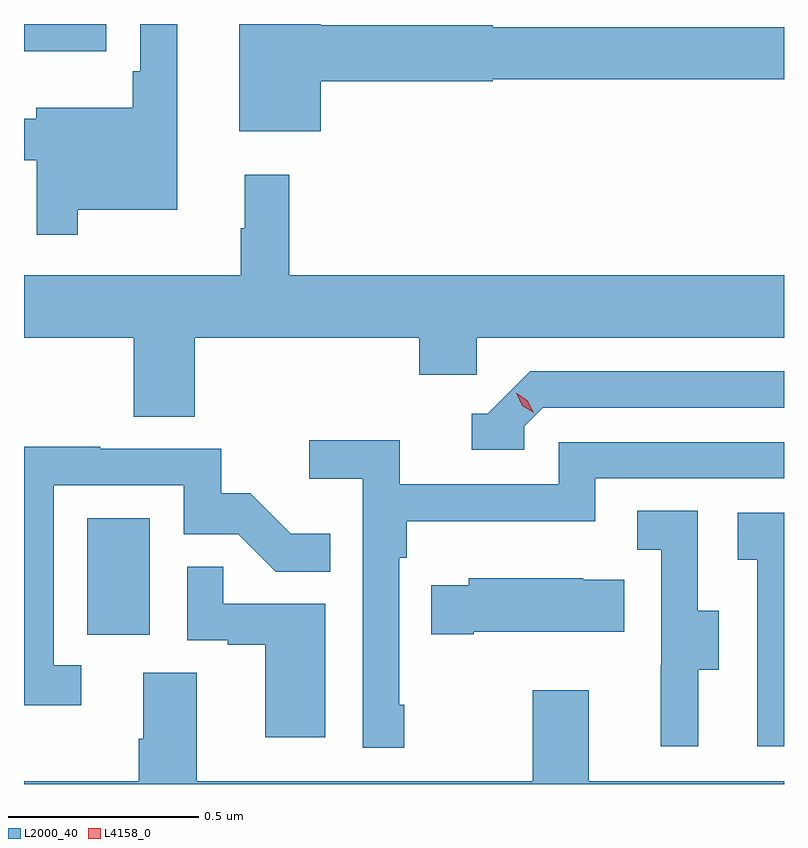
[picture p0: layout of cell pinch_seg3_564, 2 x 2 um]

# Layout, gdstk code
import gdstk
lib = gdstk.Library(unit=1e-6, precision=1e-09)
def R(c, l, rs):  # rectangles x0, y0, x1, y1
    for r in rs: c.add(gdstk.rectangle(r[:2], r[2:], *l))
def P(c, l, *ps):  # polygons
    for p in ps: c.add(gdstk.Polygon(p, *l))
L2000_40 = (2000, 40)
L4158_0 = (4158, 0)

pinch_seg3_564 = lib.new_cell('pinch_seg3_564')
R(pinch_seg3_564, L2000_40, [(1112.594,689.478,1112.758,689.785), (1112.427,691.013,1112.644,691.085)])
P(pinch_seg3_564, L2000_40, [(1113.208,690.935),(1113.66,690.935),(1113.66,690.94),(1114.427,690.94),(1114.427,691.076),(1113.66,691.076),(1113.66,691.082),(1113.208,691.082),(1113.208,691.085),(1112.993,691.085),(1112.993,690.803),(1113.208,690.803)],
  [(1112.569,690.596),(1112.83,690.596),(1112.83,691.085),(1112.733,691.085),(1112.733,690.961),(1112.713,690.961),(1112.713,690.865),(1112.459,690.865),(1112.459,690.836),(1112.427,690.836),(1112.427,690.726),(1112.46,690.726),(1112.46,690.531),(1112.569,690.531)],
  [(1112.876,690.26),(1113.467,690.26),(1113.467,690.162),(1113.618,690.162),(1113.618,690.26),(1114.427,690.26),(1114.427,690.424),(1113.125,690.424),(1113.125,690.688),(1113.008,690.688),(1113.008,690.548),(1112.997,690.548),(1112.997,690.424),(1112.427,690.424),(1112.427,690.26),(1112.716,690.26),(1112.716,690.052),(1112.876,690.052)],
  [(1113.744,690.027),(1113.792,690.075),(1114.427,690.075),(1114.427,690.171),(1113.759,690.171),(1113.648,690.06),(1113.605,690.06),(1113.605,689.964),(1113.744,689.964)],
  [(1113.427,689.293),(1113.414,689.293),(1113.414,689.681),(1113.434,689.681),(1113.434,689.777),(1113.93,689.777),(1113.93,689.889),(1114.427,689.889),(1114.427,689.985),(1113.834,689.985),(1113.834,689.874),(1113.416,689.874),(1113.416,689.99),(1113.177,689.99),(1113.177,689.888),(1113.318,689.888),(1113.318,689.181),(1113.427,689.181)],
  [(1112.578,689.397),(1112.505,689.397),(1112.505,689.871),(1112.847,689.871),(1112.847,689.742),(1112.991,689.742),(1113.089,689.644),(1113.233,689.644),(1113.233,689.743),(1113.129,689.743),(1113.022,689.85),(1112.946,689.85),(1112.946,689.967),(1112.627,689.967),(1112.627,689.972),(1112.427,689.972),(1112.427,689.292),(1112.578,689.292)],
  [(1114.201,689.386),(1114.255,689.386),(1114.255,689.541),(1114.2,689.541),(1114.2,689.804),(1114.041,689.804),(1114.041,689.701),(1114.104,689.701),(1114.104,689.397),(1114.103,689.397),(1114.103,689.184),(1114.201,689.184)],
  [(1114.427,689.799),(1114.305,689.799),(1114.305,689.675),(1114.356,689.675),(1114.356,689.184),(1114.427,689.184)],
  [(1113.22,689.559),(1112.951,689.559),(1112.951,689.657),(1112.856,689.657),(1112.856,689.463),(1112.963,689.463),(1112.963,689.451),(1113.062,689.451),(1113.062,689.208),(1113.22,689.208)],
  [(1113.61,689.486),(1114.007,689.486),(1114.007,689.623),(1113.899,689.623),(1113.899,689.626),(1113.597,689.626),(1113.597,689.608),(1113.499,689.608),(1113.499,689.479),(1113.61,689.479)],
  [(1114.427,689.092),(1113.913,689.092),(1113.913,689.332),(1113.766,689.332),(1113.766,689.092),(1112.881,689.092),(1112.881,689.378),(1112.741,689.378),(1112.741,689.204),(1112.729,689.204),(1112.729,689.092),(1112.427,689.092),(1112.427,689.085),(1114.427,689.085)])
P(pinch_seg3_564, L4158_0, [(1113.768,690.062),(1113.738,690.081),(1113.722,690.114),(1113.722,690.114),(1113.722,690.114),(1113.753,690.094),(1113.769,690.062),(1113.769,690.062)])

lib.write_gds('pinch_seg3_564.gds')
